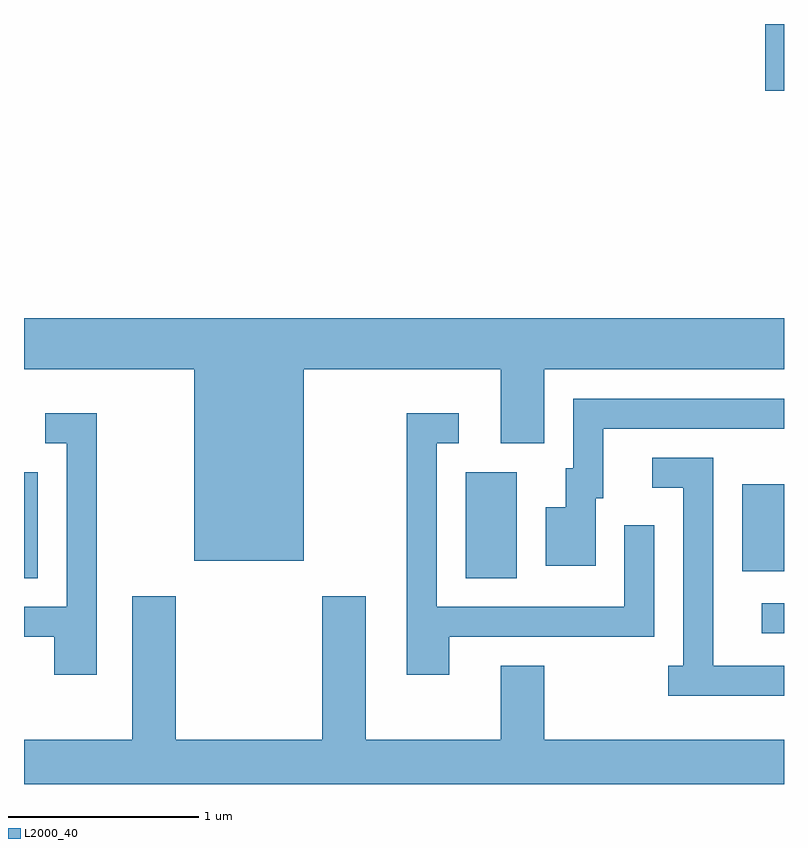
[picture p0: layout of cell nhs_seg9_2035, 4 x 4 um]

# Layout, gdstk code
import gdstk
lib = gdstk.Library(unit=1e-6, precision=1e-09)
def R(c, l, rs):  # rectangles x0, y0, x1, y1
    for r in rs: c.add(gdstk.rectangle(r[:2], r[2:], *l))
def P(c, l, *ps):  # polygons
    for p in ps: c.add(gdstk.Polygon(p, *l))
L2000_40 = (2000, 40)

nhs_seg9_2035 = lib.new_cell('nhs_seg9_2035')
R(nhs_seg9_2035, L2000_40, [(247.493,2079.226,247.611,2079.384), (243.611,2079.516,243.684,2080.074), (245.936,2079.516,246.204,2080.074), (247.391,2079.551,247.611,2080.009), (247.511,2082.081,247.611,2082.432)])
P(nhs_seg9_2035, L2000_40, [(243.611,2080.616),(244.506,2080.616),(244.506,2079.606),(245.084,2079.606),(245.084,2080.616),(246.121,2080.616),(246.121,2080.226),(246.349,2080.226),(246.349,2080.616),(247.611,2080.616),(247.611,2080.884),(243.611,2080.884)],
  [(246.619,2079.936),(246.659,2079.936),(246.659,2080.301),(247.611,2080.301),(247.611,2080.459),(246.501,2080.459),(246.501,2080.094),(246.461,2080.094),(246.461,2079.889),(246.356,2079.889),(246.356,2079.581),(246.619,2079.581)],
  [(243.994,2080.384),(243.723,2080.384),(243.723,2080.226),(243.836,2080.226),(243.836,2079.364),(243.611,2079.364),(243.611,2079.206),(243.771,2079.206),(243.771,2079.006),(243.994,2079.006)],
  [(245.849,2079.206),(246.929,2079.206),(246.929,2079.793),(246.771,2079.793),(246.771,2079.364),(245.784,2079.364),(245.784,2080.226),(245.898,2080.226),(245.898,2080.384),(245.626,2080.384),(245.626,2079.006),(245.849,2079.006)],
  [(247.611,2079.054),(247.239,2079.054),(247.239,2080.149),(246.918,2080.149),(246.918,2079.991),(247.081,2079.991),(247.081,2079.054),(247.003,2079.054),(247.003,2078.896),(247.611,2078.896)],
  [(247.611,2078.664),(246.349,2078.664),(246.349,2079.054),(246.121,2079.054),(246.121,2078.664),(245.409,2078.664),(245.409,2079.419),(245.181,2079.419),(245.181,2078.664),(244.409,2078.664),(244.409,2079.419),(244.181,2079.419),(244.181,2078.664),(243.611,2078.664),(243.611,2078.432),(247.611,2078.432)])

lib.write_gds('nhs_seg9_2035.gds')
